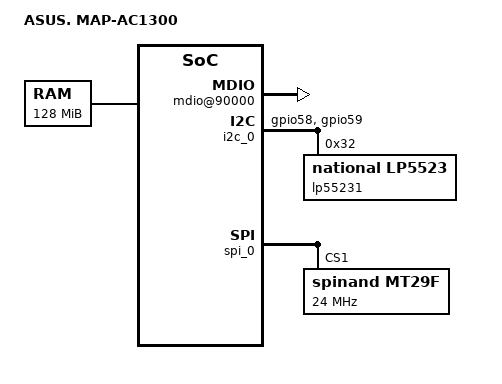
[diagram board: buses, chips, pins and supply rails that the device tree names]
/* Copyright (c) 2015, The Linux Foundation. All rights reserved.
 *
 * Permission to use, copy, modify, and/or distribute this software for any
 * purpose with or without fee is hereby granted, provided that the above
 * copyright notice and this permission notice appear in all copies.
 *
 * THE SOFTWARE IS PROVIDED "AS IS" AND THE AUTHOR DISCLAIMS ALL WARRANTIES
 * WITH REGARD TO THIS SOFTWARE INCLUDING ALL IMPLIED WARRANTIES OF
 * MERCHANTABILITY AND FITNESS. IN NO EVENT SHALL THE AUTHOR BE LIABLE FOR
 * ANY SPECIAL, DIRECT, INDIRECT, OR CONSEQUENTIAL DAMAGES OR ANY DAMAGES
 * WHATSOEVER RESULTING FROM LOSS OF USE, DATA OR PROFITS, WHETHER IN AN
 * ACTION OF CONTRACT, NEGLIGENCE OR OTHER TORTIOUS ACTION, ARISING OUT OF
 * OR IN CONNECTION WITH THE USE OR PERFORMANCE OF THIS SOFTWARE.
 *
 */

#include "qcom-ipq40xx-ap.dk01.1.dtsi"

/ {
	model = "ASUS. MAP-AC1300";

	memory {
		device_type = "memory";
		reg = <0x80000000 0x08000000>; /* 128MB */
	};

	soc {
		mdio@90000 {
			status = "ok";
			pinctrl-0 = <&mdio_pins>;
			pinctrl-names = "default";
			phy-reset-gpio = <&tlmm 62 0>;
			bias-pull-up;
		};

		gpio_keys {
			status = "disabled";
		};

		pinctrl@0x01000000 {
			i2c_0_pins: i2c_0_pinmux {
				mux {
					pins = "gpio58", "gpio59";
					function = "blsp_i2c0";
					bias-disable;
				};
			};

			serial_pins: serial_pinmux {
				mux {
					pins = "gpio60", "gpio61";
					function = "blsp_uart0";
				};
				rx {
					qcom,pins = "gpio60";
					drive-strength = <2>;
					bias-pull-down;
				};
				tx {
					qcom,pins = "gpio61";
					drive-strength = <2>;
					bias-disable;
				};
			};
		};

		i2c_0: i2c@78b7000 { /* BLSP1 QUP2 */
			pinctrl-0 = <&i2c_0_pins>;
			pinctrl-1 = <&i2c_0_pins>;
			pinctrl-names = "i2c_active", "i2c_sleep";
			status = "ok";

			lp55231@32 {
				compatible = "national,lp5523";
				reg = <0x32>;
				clock-mode = /bits/ 8 <1>;

				chan0 {
					chan-name = "blue1";
					led-cur = /bits/ 8 <0x80>;
					max-cur = /bits/ 8 <0xff>;
				};

				chan1 {
					chan-name = "blue2";
					led-cur = /bits/ 8 <0x80>;
					max-cur = /bits/ 8 <0xff>;
				};

				chan2 {
					chan-name = "blue3";
					led-cur = /bits/ 8 <0x80>;
					max-cur = /bits/ 8 <0xff>;
				};

				chan3 {
					chan-name = "green1";
					led-cur = /bits/ 8 <0x80>;
					max-cur = /bits/ 8 <0xff>;
				};

				chan4 {
					chan-name = "green2";
					led-cur = /bits/ 8 <0x80>;
					max-cur = /bits/ 8 <0xff>;
				};

				chan5 {
					chan-name = "green3";
					led-cur = /bits/ 8 <0x80>;
					max-cur = /bits/ 8 <0xff>;
				};

				chan6 {
					chan-name = "red1";
					led-cur = /bits/ 8 <0x80>;
					max-cur = /bits/ 8 <0xff>;
				};

				chan7 {
					chan-name = "red2";
					led-cur = /bits/ 8 <0x80>;
					max-cur = /bits/ 8 <0xff>;
				};

				chan8 {
					chan-name = "red3";
					led-cur = /bits/ 8 <0x80>;
					max-cur = /bits/ 8 <0xff>;
				};
			};

		};

		spi_0: spi@78b5000 { /* BLSP1 QUP1 */
			status = "ok";
			qcom,gpio-cs1 = <&tlmm 1 0>;

			mt29f@1 {
				#address-cells = <1>;
				#size-cells = <1>;
				compatible = "spinand,mt29f";
				reg = <1>;
				spi-max-frequency = <24000000>;
			};

		};

		edma@c080000 {
			qcom,num-gmac = <3>;
			gmac0 {
				qcom,poll-required = <0>;
				qcom,poll-required-dynamic = <0>;
			};
			gmac1 {
				qcom,poll-required = <0>;
				qcom,poll-required-dynamic = <0>;
			};
			gmac2 {
				qcom,poll-required = <0>;
				qcom,poll-required-dynamic = <0>;
				vlan-tag = <3 0x00>;
			};
		};
	};
};
